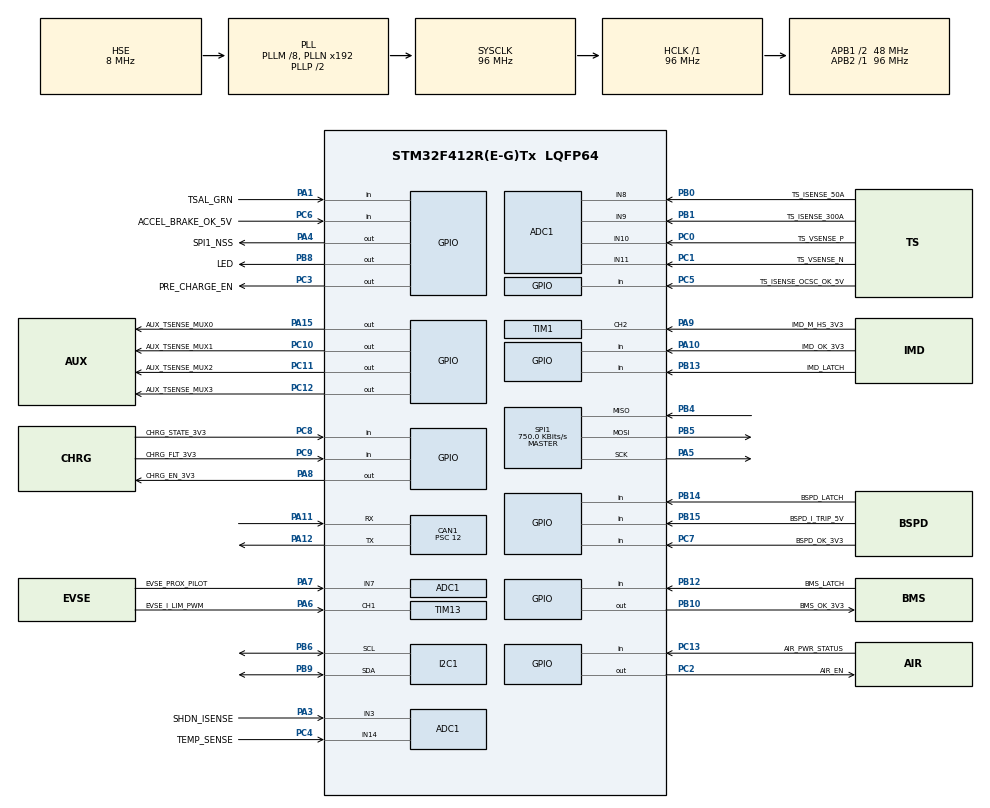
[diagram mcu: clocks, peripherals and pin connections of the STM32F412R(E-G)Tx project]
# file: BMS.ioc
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ADC1.Channel-1\#ChannelRegularConversion=ADC_CHANNEL_3
ADC1.Channel-2\#ChannelRegularConversion=ADC_CHANNEL_7
ADC1.Channel-3\#ChannelRegularConversion=ADC_CHANNEL_8
ADC1.Channel-4\#ChannelRegularConversion=ADC_CHANNEL_9
ADC1.Channel-5\#ChannelRegularConversion=ADC_CHANNEL_10
ADC1.Channel-6\#ChannelRegularConversion=ADC_CHANNEL_11
ADC1.Channel-7\#ChannelRegularConversion=ADC_CHANNEL_14
ADC1.DMAContinuousRequests=ENABLE
ADC1.ExternalTrigConv=ADC_SOFTWARE_START
ADC1.NbrOfConversion=7
ADC1.NbrOfConversionFlag=1
ADC1.Rank-1\#ChannelRegularConversion=1
ADC1.Rank-2\#ChannelRegularConversion=2
ADC1.Rank-3\#ChannelRegularConversion=3
ADC1.Rank-4\#ChannelRegularConversion=4
ADC1.Rank-5\#ChannelRegularConversion=5
ADC1.Rank-6\#ChannelRegularConversion=6
ADC1.Rank-7\#ChannelRegularConversion=7
ADC1.SamplingTime-1\#ChannelRegularConversion=ADC_SAMPLETIME_3CYCLES
ADC1.SamplingTime-2\#ChannelRegularConversion=ADC_SAMPLETIME_3CYCLES
ADC1.SamplingTime-3\#ChannelRegularConversion=ADC_SAMPLETIME_3CYCLES
ADC1.SamplingTime-4\#ChannelRegularConversion=ADC_SAMPLETIME_3CYCLES
ADC1.SamplingTime-5\#ChannelRegularConversion=ADC_SAMPLETIME_3CYCLES
ADC1.SamplingTime-6\#ChannelRegularConversion=ADC_SAMPLETIME_3CYCLES
ADC1.SamplingTime-7\#ChannelRegularConversion=ADC_SAMPLETIME_3CYCLES
ADC1.ScanConvMode=ENABLE
ADC1.master=1
CAN1.ABOM=ENABLE
CAN1.BS1=CAN_BS1_6TQ
CAN1.CalculateBaudRate=500000
CAN1.CalculateTimeBit=2000
CAN1.CalculateTimeQuantum=250.0
CAN1.NART=ENABLE
CAN1.Prescaler=12
CAN1.RFLM=ENABLE
CAN1.SJW=CAN_SJW_4TQ
CAN1.TXFP=ENABLE
Dma.ADC1.0.Direction=DMA_PERIPH_TO_MEMORY
Dma.ADC1.0.FIFOMode=DMA_FIFOMODE_DISABLE
Dma.ADC1.0.Instance=DMA2_Stream0
Dma.ADC1.0.MemDataAlignment=DMA_MDATAALIGN_HALFWORD
Dma.ADC1.0.MemInc=DMA_MINC_ENABLE
Dma.ADC1.0.Mode=DMA_CIRCULAR
Dma.ADC1.0.PeriphDataAlignment=DMA_PDATAALIGN_HALFWORD
Dma.ADC1.0.PeriphInc=DMA_PINC_DISABLE
Dma.ADC1.0.Priority=DMA_PRIORITY_LOW
Dma.Request0=ADC1
FREERTOS.INCLUDE_uxTaskGetStackHighWaterMark=1
FREERTOS.INCLUDE_vTaskDelayUntil=1
FREERTOS.MEMORY_ALLOCATION=1
FREERTOS.Tasks01=Task100Hz,40,512,RunTask100Hz,Default,NULL,Static,Task100HzBuffer,Task100HzControlBlock;TaskCanRx,24,512,RunTaskCanRx,Default,NULL,Static,TaskCanRxBuffer,TaskCanRxControlBlock;TaskCanTx,24,512,RunTaskCanTx,Default,NULL,Static,TaskCanTxBuffer,TaskCanTxControlBlock;Task1kHz,48,512,RunTask1kHz,Default,NULL,Static,Task1kHzBuffer,Task1kHzControlBlock;Task1Hz,32,512,RunTask1Hz,Default,NULL,Static,Task1HzBuffer,Task1HzControlBlock
FREERTOS.configUSE_NEWLIB_REENTRANT=1
FREERTOS.configUSE_TRACE_FACILITY=1
I2C1.I2C_Mode=I2C_Fast
IWDG.Reload=LSI_FREQUENCY /  IWDG_PRESCALER / IWDG_RESET_FREQUENCY
Mcu.Family=STM32F4
Mcu.Name=STM32F412R(E-G)Tx
Mcu.Package=LQFP64
Mcu.UserConstants=IWDG_WINDOW_DISABLE_VALUE,4095;IWDG_PRESCALER,4;IWDG_RESET_FREQUENCY,5;LSI_FREQUENCY,32000;TASK100HZ_STACK_SIZE,512;TASK1KHZ_STACK_SIZE,512;TASK1HZ_STACK_SIZE,512;TASKCANTX_STACK_SIZE,512;TASKCANRX_STACK_SIZE,512;TIM1_FREQUENCY,96000000;TIM1_AUTO_RELOAD_REG,0xFFFF;TIM1_PWM_MINIMUM_FREQUENCY,1;TIM1_PRESCALER,(TIM1_FREQUENCY / TIM1_AUTO_RELOAD_REG / TIM1_PWM_MINIMUM_FREQUENCY);TIMx_FREQUENCY,96000000;TIM3_PRESCALER,96;ADC_FREQUENCY,1000;TS_ADC_OFFSET,1983
NVIC.CAN1_RX0_IRQn=true\:5\:0\:false\:false\:true\:true\:true\:true\:true
NVIC.CAN1_RX1_IRQn=true\:5\:0\:false\:false\:true\:true\:true\:true\:true
NVIC.DMA2_Stream0_IRQn=true\:5\:0\:false\:false\:true\:true\:false\:true\:true
NVIC.PriorityGroup=NVIC_PRIORITYGROUP_4
NVIC.TIM1_CC_IRQn=true\:5\:0\:false\:false\:true\:true\:true\:true\:true
NVIC.TIM6_IRQn=true\:0\:0\:false\:false\:true\:false\:false\:true\:true
NVIC.TimeBase=TIM6_IRQn
NVIC.TimeBaseIP=TIM6
PA0.GPIO_Label=TSAL_RED
PA0.Signal=S_TIM2_CH1_ETR
PA1.GPIO_Label=TSAL_GRN
PA1.Signal=GPIO_Input
PA10.GPIO_Label=IMD_OK_3V3
PA10.Signal=GPIO_Input
PA11.Mode=CAN_Activate
PA11.Signal=CAN1_RX
PA12.Mode=CAN_Activate
PA12.Signal=CAN1_TX
PA13.Mode=Trace_Asynchronous_SW
PA13.Signal=SYS_JTMS-SWDIO
PA14.Mode=Trace_Asynchronous_SW
PA14.Signal=SYS_JTCK-SWCLK
PA15.GPIO_Label=AUX_TSENSE_MUX0
PA15.Signal=GPIO_Output
PA3.GPIO_Label=SHDN_ISENSE
PA3.Signal=ADCx_IN3
PA4.GPIO_Label=SPI1_NSS
PA4.GPIO_PuPd=GPIO_PULLDOWN
PA4.GPIO_Speed=GPIO_SPEED_FREQ_HIGH
PA4.PinState=GPIO_PIN_SET
PA4.Signal=GPIO_Output
PA5.GPIO_PuPd=GPIO_PULLDOWN
PA5.GPIO_Speed=GPIO_SPEED_FREQ_HIGH
PA5.Mode=Full_Duplex_Master
PA5.Signal=SPI1_SCK
PA6.GPIO_Label=EVSE_I_LIM_PWM
PA6.Signal=S_TIM13_CH1
PA7.GPIO_Label=EVSE_PROX_PILOT
PA7.Signal=ADCx_IN7
PA8.GPIO_Label=CHRG_EN_3V3
PA8.Signal=GPIO_Output
PA9.GPIO_Label=IMD_M_HS_3V3
PA9.Signal=S_TIM1_CH2
PB0.GPIO_Label=TS_ISENSE_50A
PB0.Signal=ADCx_IN8
PB1.GPIO_Label=TS_ISENSE_300A
PB1.Signal=ADCx_IN9
PB10.GPIO_Label=BMS_OK_3V3
PB10.Signal=GPIO_Output
PB12.GPIO_Label=BMS_LATCH
PB12.Signal=GPIO_Input
PB13.GPIO_Label=IMD_LATCH
PB13.Signal=GPIO_Input
PB14.GPIO_Label=BSPD_LATCH
PB14.Signal=GPIO_Input
PB15.GPIO_Label=BSPD_I_TRIP_5V
PB15.Signal=GPIO_Input
PB3.Mode=Trace_Asynchronous_SW
PB3.Signal=SYS_JTDO-SWO
PB4.GPIO_PuPd=GPIO_PULLUP
PB4.GPIO_Speed=GPIO_SPEED_FREQ_HIGH
PB4.Mode=Full_Duplex_Master
PB4.Signal=SPI1_MISO
PB5.GPIO_PuPd=GPIO_PULLDOWN
PB5.GPIO_Speed=GPIO_SPEED_FREQ_HIGH
PB5.Mode=Full_Duplex_Master
PB5.Signal=SPI1_MOSI
PB6.GPIO_Pu=GPIO_PULLUP
PB6.Mode=I2C
PB6.Signal=I2C1_SCL
PB8.GPIO_Label=LED
PB8.Signal=GPIO_Output
PB9.GPIO_Pu=GPIO_PULLUP
PB9.Mode=I2C
PB9.Signal=I2C1_SDA
PC0.GPIO_Label=TS_VSENSE_P
PC0.Signal=ADCx_IN10
PC1.GPIO_Label=TS_VSENSE_N
PC1.Signal=ADCx_IN11
PC10.GPIO_Label=AUX_TSENSE_MUX1
PC10.Signal=GPIO_Output
PC11.GPIO_Label=AUX_TSENSE_MUX2
PC11.Signal=GPIO_Output
PC12.GPIO_Label=AUX_TSENSE_MUX3
PC12.Signal=GPIO_Output
PC13.GPIO_Label=AIR_PWR_STATUS
PC13.Signal=GPIO_Input
PC2.GPIO_Label=AIR_EN
PC2.Signal=GPIO_Output
PC3.GPIO_Label=PRE_CHARGE_EN
PC3.Signal=GPIO_Output
PC4.GPIO_Label=TEMP_SENSE
PC4.Signal=ADCx_IN14
PC5.GPIO_Label=TS_ISENSE_OCSC_OK_5V
PC5.Signal=GPIO_Input
PC6.GPIO_Label=ACCEL_BRAKE_OK_5V
PC6.Signal=GPIO_Input
PC7.GPIO_Label=BSPD_OK_3V3
PC7.Signal=GPIO_Input
PC8.GPIO_Label=CHRG_STATE_3V3
PC8.Signal=GPIO_Input
PC9.GPIO_Label=CHRG_FLT_3V3
PC9.Signal=GPIO_Input
PH0\ -\ OSC_IN.Mode=HSE-External-Oscillator
PH0\ -\ OSC_IN.Signal=RCC_OSC_IN
PH1\ -\ OSC_OUT.Mode=HSE-External-Oscillator
PH1\ -\ OSC_OUT.Signal=RCC_OSC_OUT
ProjectManager.HeapSize=0x00
ProjectManager.StackSize=0x400
ProjectManager.TargetToolchain=STM32CubeIDE
RCC.AHBFreq_Value=96000000
RCC.APB1CLKDivider=RCC_HCLK_DIV2
RCC.APB1Freq_Value=48000000
RCC.APB1TimFreq_Value=96000000
RCC.APB2Freq_Value=96000000
RCC.APB2TimFreq_Value=96000000
RCC.CortexFreq_Value=96000000
RCC.HCLKFreq_Value=96000000
RCC.HSE_VALUE=8000000
RCC.PLLM=8
RCC.PLLSourceVirtual=RCC_PLLSOURCE_HSE
RCC.SYSCLKFreq_VALUE=96000000
RCC.SYSCLKSource=RCC_SYSCLKSOURCE_PLLCLK
RCC.USBFreq_Value=96000000
RCC.VCOOutputFreq_Value=192000000
SH.ADCx_IN10.0=ADC1_IN10,IN10
SH.ADCx_IN11.0=ADC1_IN11,IN11
SH.ADCx_IN14.0=ADC1_IN14,IN14
SH.ADCx_IN3.0=ADC1_IN3,IN3
SH.ADCx_IN7.0=ADC1_IN7,IN7
SH.ADCx_IN8.0=ADC1_IN8,IN8
SH.ADCx_IN9.0=ADC1_IN9,IN9
SH.S_TIM13_CH1.0=TIM13_CH1,Input_Capture1_from_TI1
SH.S_TIM1_CH2.0=TIM1_CH2,Input_Capture2_from_TI2
SH.S_TIM1_CH2.1=TIM1_CH2,Input_Capture1_from_TI2
SH.S_TIM1_CH2.2=TIM1_CH2,TriggerSource_TI2FP2
SH.S_TIM2_CH1_ETR.0=TIM2_CH1
SPI1.BaudRatePrescaler=SPI_BAUDRATEPRESCALER_128
SPI1.CLKPhase=SPI_PHASE_2EDGE
SPI1.CLKPolarity=SPI_POLARITY_HIGH
SPI1.CalculateBaudRate=750.0 KBits/s
SPI1.Direction=SPI_DIRECTION_2LINES
SPI1.Mode=SPI_MODE_MASTER
SPI1.VirtualType=VM_MASTER
TIM1.Channel-Input_Capture1_from_TI2=TIM_CHANNEL_1
TIM1.Channel-Input_Capture2_from_TI2=TIM_CHANNEL_2
TIM1.ICPolarity_CH1=TIM_INPUTCHANNELPOLARITY_FALLING
TIM1.ICPolarity_CH2=TIM_INPUTCHANNELPOLARITY_RISING
TIM1.Period=TIM1_AUTO_RELOAD_REG
TIM1.Prescaler=TIM1_PRESCALER
TIM13.Channel=TIM_CHANNEL_1
TIM13.ICPolarity_CH1=TIM_INPUTCHANNELPOLARITY_FALLING
TIM13.Period=TIM1_AUTO_RELOAD_REG
TIM13.Prescaler=TIM1_PRESCALER
TIM3.Period=(TIMx_FREQUENCY / TIM3_PRESCALER / ADC_FREQUENCY) - 1
TIM3.Prescaler=TIM3_PRESCALER - 1 
TIM3.TIM_MasterOutputTrigger=TIM_TRGO_UPDATE
VP_FREERTOS_VS_CMSIS_V2.Mode=CMSIS_V2
VP_IWDG_VS_IWDG.Mode=IWDG_Activate
VP_SYS_VS_tim6.Mode=TIM6
VP_TIM13_VS_ClockSourceINT.Mode=Enable_Timer
VP_TIM1_VS_ControllerModeReset.Mode=Reset Mode
VP_TIM3_VS_ClockSourceINT.Mode=Internal
board=custom

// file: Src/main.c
/* USER CODE BEGIN Header */
/**
 ******************************************************************************
 * @file           : main.c
 * @brief          : Main program body
 ******************************************************************************
 * @attention
 *
 * <h2><center>&copy; Copyright (c) 2020 STMicroelectronics.
 * All rights reserved.</center></h2>
 *
 * This software component is licensed by ST under Ultimate Liberty license
 * SLA0044, the "License"; You may not use this file except in compliance with
 * the License. You may obtain a copy of the License at:
 *                             www.st.com/SLA0044
 *
 ******************************************************************************
 */
/* USER CODE END Header */
#include "main.h"
#include "cmsis_os.h"

/* USER CODE BEGIN Includes */
#include <assert.h>

#include "Io_CanTx.h"
#include "Io_CanRx.h"
#include "Io_SharedSoftwareWatchdog.h"
#include "hw_hardFaultHandler.h"
#include "Io_StackWaterMark.h"
#include "Io_SoftwareWatchdog.h"
#include "Io_Imd.h"
#include "Io_SharedHeartbeatMonitor.h"
#include "Io_RgbLedSequence.h"
#include "Io_Charger.h"
#include "Io_CurrentSense.h"
#include "Io_OkStatuses.h"
#include "Io_LTC6813/Io_LTC6813Shared.h"
#include "Io_LTC6813/Io_LTC6813CellVoltages.h"
#include "Io_LTC6813/Io_LTC6813CellTemperatures.h"
#include "Io_Airs.h"
#include "Io_PreCharge.h"
#include "Io_Adc.h"
#include "Io_VoltageSense.h"
#include "Io_Eeprom.h"
#include "Io_LatchedFaults.h"
#include "Io_ThermistorReadings.h"
#include "io_can.h"
#include "io_jsoncan.h"
#include "hw_bootup.h"
#include "hw_can.h"

#include "App_CanUtils.h"
#include "App_CanAlerts.h"
#include "App_BmsWorld.h"
#include "states/App_AllStates.h"
#include "App_SharedMacros.h"
#include "App_SharedStateMachine.h"
#include "states/App_InitState.h"
#include "configs/App_HeartbeatMonitorConfig.h"
#include "configs/App_ImdConfig.h"
#include "App_CommitInfo.h"
#include "App_Timer.h"
/* USER CODE END Includes */

typedef StaticTask_t osStaticThreadDef_t;

/* USER CODE BEGIN PD */
#define I2C_RECOVER_NUM_CLOCKS 10U    /* # clock cycles for recovery  */
#define I2C_RECOVER_CLOCK_FREQ 50000U /* clock frequency for recovery */
#define I2C_RECOVER_CLOCK_DELAY_MS (1000U / (2U * I2C_RECOVER_CLOCK_FREQ))
#define I2C1_SCL_PIN GPIO_PIN_6
#define I2C1_SCL_PORT GPIOB

/* USER CODE END PD */

ADC_HandleTypeDef hadc1;
DMA_HandleTypeDef hdma_adc1;

CAN_HandleTypeDef hcan1;

I2C_HandleTypeDef hi2c1;

IWDG_HandleTypeDef hiwdg;

SPI_HandleTypeDef hspi1;

TIM_HandleTypeDef htim1;
TIM_HandleTypeDef htim3;
TIM_HandleTypeDef htim13;

/* Definitions for Task100Hz */
osThreadId_t         Task100HzHandle;
uint32_t             Task100HzBuffer[512];
osStaticThreadDef_t  Task100HzControlBlock;
const osThreadAttr_t Task100Hz_attributes = {
    .name       = "Task100Hz",
    .cb_mem     = &Task100HzControlBlock,
    .cb_size    = sizeof(Task100HzControlBlock),
    .stack_mem  = &Task100HzBuffer[0],
    .stack_size = sizeof(Task100HzBuffer),
    .priority   = (osPriority_t)osPriorityHigh,
};
/* Definitions for TaskCanRx */
osThreadId_t         TaskCanRxHandle;
uint32_t             TaskCanRxBuffer[512];
osStaticThreadDef_t  TaskCanRxControlBlock;
const osThreadAttr_t TaskCanRx_attributes = {
    .name       = "TaskCanRx",
    .cb_mem     = &TaskCanRxControlBlock,
    .cb_size    = sizeof(TaskCanRxControlBlock),
    .stack_mem  = &TaskCanRxBuffer[0],
    .stack_size = sizeof(TaskCanRxBuffer),
    .priority   = (osPriority_t)osPriorityNormal,
};
/* Definitions for TaskCanTx */
osThreadId_t         TaskCanTxHandle;
uint32_t             TaskCanTxBuffer[512];
osStaticThreadDef_t  TaskCanTxControlBlock;
const osThreadAttr_t TaskCanTx_attributes = {
    .name       = "TaskCanTx",
    .cb_mem     = &TaskCanTxControlBlock,
    .cb_size    = sizeof(TaskCanTxControlBlock),
    .stack_mem  = &TaskCanTxBuffer[0],
    .stack_size = sizeof(TaskCanTxBuffer),
    .priority   = (osPriority_t)osPriorityNormal,
};
/* Definitions for Task1kHz */
osThreadId_t         Task1kHzHandle;
uint32_t             Task1kHzBuffer[512];
osStaticThreadDef_t  Task1kHzControlBlock;
const osThreadAttr_t Task1kHz_attributes = {
    .name       = "Task1kHz",
    .cb_mem     = &Task1kHzControlBlock,
    .cb_size    = sizeof(Task1kHzControlBlock),
    .stack_mem  = &Task1kHzBuffer[0],
    .stack_size = sizeof(Task1kHzBuffer),
    .priority   = (osPriority_t)osPriorityRealtime,
};
/* Definitions for Task1Hz */
osThreadId_t         Task1HzHandle;
uint32_t             Task1HzBuffer[512];
osStaticThreadDef_t  Task1HzControlBlock;
const osThreadAttr_t Task1Hz_attributes = {
    .name       = "Task1Hz",
    .cb_mem     = &Task1HzControlBlock,
    .cb_size    = sizeof(Task1HzControlBlock),
    .stack_mem  = &Task1HzBuffer[0],
    .stack_size = sizeof(Task1HzBuffer),
    .priority   = (osPriority_t)osPriorityAboveNormal,
};
/* USER CODE BEGIN PV */
struct BmsWorld *        world;
struct StateMachine *    state_machine;
struct Imd *             imd;
struct HeartbeatMonitor *heartbeat_monitor;
struct RgbLedSequence *  rgb_led_sequence;
struct Charger *         charger;
struct OkStatus *        bms_ok;
struct OkStatus *        imd_ok;
struct OkStatus *        bspd_ok;
struct SocStats *        soc_stats;
struct Accumulator *     accumulator;
struct CellMonitors *    cell_monitors;
struct Airs *            airs;
struct PrechargeRelay *  precharge_relay;
struct TractiveSystem *  ts;
struct Clock *           clock;
struct Eeprom *          eeprom;
/* USER CODE END PV */

void        SystemClock_Config(void);
static void MX_GPIO_Init(void);
static void MX_DMA_Init(void);
static void MX_ADC1_Init(void);
static void MX_CAN1_Init(void);
static void MX_SPI1_Init(void);
static void MX_TIM1_Init(void);
static void MX_TIM13_Init(void);
static void MX_I2C1_Init(void);
static void MX_TIM3_Init(void);
static void MX_IWDG_Init(void);
void        RunTask100Hz(void *argument);
void        RunTaskCanRx(void *argument);
void        RunTaskCanTx(void *argument);
void        RunTask1kHz(void *argument);
void        RunTask1Hz(void *argument);

/* USER CODE BEGIN PFP */

static void CanRxQueueOverflowCallBack(uint32_t overflow_count);
static void CanTxQueueOverflowCallBack(uint32_t overflow_count);

/* USER CODE END PFP */

/* USER CODE BEGIN 0 */

static void CanRxQueueOverflowCallBack(uint32_t overflow_count)
{
    App_CanTx_BMS_RxOverflowCount_Set(overflow_count);
    App_CanAlerts_BMS_Warning_RxOverflow_Set(true);
}

static void CanTxQueueOverflowCallBack(uint32_t overflow_count)
{
    App_CanTx_BMS_TxOverflowCount_Set(overflow_count);
    App_CanAlerts_BMS_Warning_TxOverflow_Set(true);
}

static const CanConfig can_config = {
    .rx_msg_filter        = Io_CanRx_FilterMessageId,
    .tx_overflow_callback = CanTxQueueOverflowCallBack,
    .rx_overflow_callback = CanRxQueueOverflowCallBack,
};
/* USER CODE END 0 */

int main(void)
{
    /* USER CODE BEGIN 1 */
    // After booting, re-enable interrupts and ensure the core is using the application's vector table.
    hw_bootup_enableInterruptsForApp();
    /* USER CODE END 1 */

    /* MCU Configuration--------------------------------------------------------*/

    /* Reset of all peripherals, Initializes the Flash interface and the Systick. */
    HAL_Init();

    /* Configure the system clock */
    SystemClock_Config();

    /* Initialize all configured peripherals */
    MX_GPIO_Init();
    MX_DMA_Init();
    MX_ADC1_Init();
    MX_CAN1_Init();
    MX_SPI1_Init();
    MX_TIM1_Init();
    MX_TIM13_Init();
    MX_I2C1_Init();
    MX_TIM3_Init();
    MX_IWDG_Init();
    /* USER CODE BEGIN 2 */
    __HAL_DBGMCU_FREEZE_IWDG();

    // Configure and initialize SEGGER SystemView.
    SEGGER_SYSVIEW_Conf();

    HAL_ADC_Start_DMA(&hadc1, (uint32_t *)Io_Adc_GetRawAdcValues(), hadc1.Init.NbrOfConversion);
    HAL_TIM_Base_Start(&htim13);

    hw_hardFaultHandler_init();
    hw_can_init(&hcan1);

    Io_SharedSoftwareWatchdog_Init(Io_HardwareWatchdog_Refresh, Io_SoftwareWatchdog_TimeoutCallback);
    Io_CanTx_Init(io_jsoncan_pushTxMsgToQueue);
    Io_CanTx_EnableMode(CAN_MODE_DEFAULT, true);
    io_can_init(&can_config);

    App_CanTx_Init();
    App_CanRx_Init();

    Io_Imd_Init();
    imd = App_Imd_Create(Io_Imd_GetFrequency, IMD_FREQUENCY_TOLERANCE, Io_Imd_GetDutyCycle, Io_Imd_GetTimeSincePowerOn);

    heartbeat_monitor = App_SharedHeartbeatMonitor_Create(
        Io_SharedHeartbeatMonitor_GetCurrentMs, HEARTBEAT_MONITOR_TIMEOUT_PERIOD_MS, HEARTBEAT_MONITOR_BOARDS_TO_CHECK);

    rgb_led_sequence = App_SharedRgbLedSequence_Create(
        Io_RgbLedSequence_TurnOnRedLed, Io_RgbLedSequence_TurnOnBlueLed, Io_RgbLedSequence_TurnOnGreenLed);

    charger = App_Charger_Create(Io_Charger_Enable, Io_Charger_Disable, Io_Charger_IsConnected, Io_Charger_HasFaulted);

    bms_ok = App_OkStatus_Create(Io_OkStatuses_EnableBmsOk, Io_OkStatuses_DisableBmsOk, Io_OkStatuses_IsBmsOkEnabled);

    imd_ok = App_OkStatus_Create(Io_OkStatuses_EnableImdOk, Io_OkStatuses_DisableImdOk, Io_OkStatuses_IsImdOkEnabled);

    bspd_ok =
        App_OkStatus_Create(Io_OkStatuses_EnableBspdOk, Io_OkStatuses_DisableBspdOk, Io_OkStatuses_IsBspdOkEnabled);

    Io_LTC6813Shared_InitSpiHandle(&hspi1);
    accumulator = App_Accumulator_Create(
        Io_LTC6813Shared_SetCfgRegsToDefaultSettings, Io_LTC6813Shared_WriteConfigurationRegisters,
        Io_LTC6813CellVoltages_StartAdcConversion, Io_LTC6813CellVoltages_ReadVoltages,
        Io_LTC6813CellVoltages_GetCellVoltage, Io_LTC6813CellTemperatures_StartAdcConversion,
        Io_LTC6813CellTemperatures_ReadTemperatures, Io_LTC6813CellTemperatures_GetMinTempDegC,
        Io_LTC6813CellTemperatures_GetMaxTempDegC, Io_LTC6813CellTemperatures_GetAverageTempDegC,
        Io_LTC6813CellTemperatures_GetSpecifiedTempDegC, Io_LTC6813Shared_EnableBalance,
        Io_LTC6813Shared_DisableBalance, Io_LatchedFaults_CheckImdLatchedFault, Io_LatchedFaults_CheckBspdLatchedFault,
        Io_LatchedFaults_CheckBmsLatchedFault, Io_ThermistorReadings_MuxSelect, Io_ThermistorReadings_ReadSelectedTemp);

    ts = App_TractiveSystem_Create(
        Io_VoltageSense_GetTractiveSystemVoltage, Io_CurrentSense_GetHighResolutionMainCurrent,
        Io_CurrentSense_GetLowResolutionMainCurrent);

    airs = App_Airs_Create(
        Io_Airs_IsAirPositiveClosed, Io_Airs_IsAirNegativeClosed, Io_Airs_CloseAirPositive, Io_Airs_OpenAirPositive);

    eeprom = App_Eeprom_Create(Io_Eeprom_WritePage, Io_Eeprom_ReadPage, Io_Eeprom_PageErase);

    soc_stats = App_SocStats_Create(eeprom, accumulator);

    precharge_relay = App_PrechargeRelay_Create(Io_PreCharge_Enable, Io_PreCharge_Disable);

    clock = App_SharedClock_Create();

    world = App_BmsWorld_Create(
        imd, heartbeat_monitor, rgb_led_sequence, charger, bms_ok, imd_ok, bspd_ok, accumulator, soc_stats, airs,
        precharge_relay, ts, clock, eeprom);

    state_machine = App_SharedStateMachine_Create(world, App_GetInitState());
    App_AllStates_Init();

    // broadcast commit info
    App_CanTx_BMS_Hash_Set(GIT_COMMIT_HASH);
    App_CanTx_BMS_Clean_Set(GIT_COMMIT_CLEAN);

    /* USER CODE END 2 */

    /* Init scheduler */
    osKernelInitialize();

    /* Create the thread(s) */
    /* creation of Task100Hz */
    Task100HzHandle = osThreadNew(RunTask100Hz, NULL, &Task100Hz_attributes);

    /* creation of TaskCanRx */
    TaskCanRxHandle = osThreadNew(RunTaskCanRx, NULL, &TaskCanRx_attributes);

    /* creation of TaskCanTx */
    TaskCanTxHandle = osThreadNew(RunTaskCanTx, NULL, &TaskCanTx_attributes);

    /* creation of Task1kHz */
    Task1kHzHandle = osThreadNew(RunTask1kHz, NULL, &Task1kHz_attributes);

    /* creation of Task1Hz */
    Task1HzHandle = osThreadNew(RunTask1Hz, NULL, &Task1Hz_attributes);

    /* Start scheduler */
    osKernelStart();

    /* We should never get here as control is now taken by the scheduler */
    /* Infinite loop */
    while (1)
    {

    }
}

void SystemClock_Config(void)
{
    RCC_OscInitTypeDef RCC_OscInitStruct = { 0 };
    RCC_ClkInitTypeDef RCC_ClkInitStruct = { 0 };

    /** Configure the main internal regulator output voltage
     */
    __HAL_RCC_PWR_CLK_ENABLE();
    __HAL_PWR_VOLTAGESCALING_CONFIG(PWR_REGULATOR_VOLTAGE_SCALE1);

    /** Initializes the RCC Oscillators according to the specified parameters
     * in the RCC_OscInitTypeDef structure.
     */
    RCC_OscInitStruct.OscillatorType = RCC_OSCILLATORTYPE_LSI | RCC_OSCILLATORTYPE_HSE;
    RCC_OscInitStruct.HSEState       = RCC_HSE_ON;
    RCC_OscInitStruct.LSIState       = RCC_LSI_ON;
    RCC_OscInitStruct.PLL.PLLState   = RCC_PLL_ON;
    RCC_OscInitStruct.PLL.PLLSource  = RCC_PLLSOURCE_HSE;
    RCC_OscInitStruct.PLL.PLLM       = 8;
    RCC_OscInitStruct.PLL.PLLN       = 192;
    RCC_OscInitStruct.PLL.PLLP       = RCC_PLLP_DIV2;
    RCC_OscInitStruct.PLL.PLLQ       = 2;
    RCC_OscInitStruct.PLL.PLLR       = 2;
    if (HAL_RCC_OscConfig(&RCC_OscInitStruct) != HAL_OK)
    {
        Error_Handler();
    }

    /** Initializes the CPU, AHB and APB buses clocks
     */
    RCC_ClkInitStruct.ClockType = RCC_CLOCKTYPE_HCLK | RCC_CLOCKTYPE_SYSCLK | RCC_CLOCKTYPE_PCLK1 | RCC_CLOCKTYPE_PCLK2;
    RCC_ClkInitStruct.SYSCLKSource   = RCC_SYSCLKSOURCE_PLLCLK;
    RCC_ClkInitStruct.AHBCLKDivider  = RCC_SYSCLK_DIV1;
    RCC_ClkInitStruct.APB1CLKDivider = RCC_HCLK_DIV2;
    RCC_ClkInitStruct.APB2CLKDivider = RCC_HCLK_DIV1;

    if (HAL_RCC_ClockConfig(&RCC_ClkInitStruct, FLASH_LATENCY_3) != HAL_OK)
    {
        Error_Handler();
    }
}

static void MX_ADC1_Init(void)
{

    ADC_ChannelConfTypeDef sConfig = { 0 };

    /** Configure the global features of the ADC (Clock, Resolution, Data Alignment and number of conversion)
     */
    hadc1.Instance                   = ADC1;
    hadc1.Init.ClockPrescaler        = ADC_CLOCK_SYNC_PCLK_DIV4;
    hadc1.Init.Resolution            = ADC_RESOLUTION_12B;
    hadc1.Init.ScanConvMode          = ENABLE;
    hadc1.Init.ContinuousConvMode    = DISABLE;
    hadc1.Init.DiscontinuousConvMode = DISABLE;
    hadc1.Init.ExternalTrigConvEdge  = ADC_EXTERNALTRIGCONVEDGE_NONE;
    hadc1.Init.ExternalTrigConv      = ADC_SOFTWARE_START;
    hadc1.Init.DataAlign             = ADC_DATAALIGN_RIGHT;
    hadc1.Init.NbrOfConversion       = 7;
    hadc1.Init.DMAContinuousRequests = ENABLE;
    hadc1.Init.EOCSelection          = ADC_EOC_SINGLE_CONV;
    if (HAL_ADC_Init(&hadc1) != HAL_OK)
    {
        Error_Handler();
    }

    /** Configure for the selected ADC regular channel its corresponding rank in the sequencer and its sample time.
     */
    sConfig.Channel      = ADC_CHANNEL_3;
    sConfig.Rank         = 1;
    sConfig.SamplingTime = ADC_SAMPLETIME_3CYCLES;
    if (HAL_ADC_ConfigChannel(&hadc1, &sConfig) != HAL_OK)
    {
        Error_Handler();
    }

    /** Configure for the selected ADC regular channel its corresponding rank in the sequencer and its sample time.
     */
    sConfig.Channel = ADC_CHANNEL_7;
    sConfig.Rank    = 2;
    if (HAL_ADC_ConfigChannel(&hadc1, &sConfig) != HAL_OK)
    {
        Error_Handler();
    }

    /** Configure for the selected ADC regular channel its corresponding rank in the sequencer and its sample time.
     */
    sConfig.Channel = ADC_CHANNEL_8;
    sConfig.Rank    = 3;
    if (HAL_ADC_ConfigChannel(&hadc1, &sConfig) != HAL_OK)
    {
        Error_Handler();
    }

    /** Configure for the selected ADC regular channel its corresponding rank in the sequencer and its sample time.
     */
    sConfig.Channel = ADC_CHANNEL_9;
    sConfig.Rank    = 4;
    if (HAL_ADC_ConfigChannel(&hadc1, &sConfig) != HAL_OK)
    {
        Error_Handler();
    }

    /** Configure for the selected ADC regular channel its corresponding rank in the sequencer and its sample time.
     */
    sConfig.Channel = ADC_CHANNEL_10;
    sConfig.Rank    = 5;
    if (HAL_ADC_ConfigChannel(&hadc1, &sConfig) != HAL_OK)
    {
        Error_Handler();
    }

    /** Configure for the selected ADC regular channel its corresponding rank in the sequencer and its sample time.
     */
    sConfig.Channel = ADC_CHANNEL_11;
    sConfig.Rank    = 6;
    if (HAL_ADC_ConfigChannel(&hadc1, &sConfig) != HAL_OK)
    {
        Error_Handler();
    }

    /** Configure for the selected ADC regular channel its corresponding rank in the sequencer and its sample time.
     */
    sConfig.Channel = ADC_CHANNEL_14;
    sConfig.Rank    = 7;
    if (HAL_ADC_ConfigChannel(&hadc1, &sConfig) != HAL_OK)
    {
        Error_Handler();
    }
}

static void MX_CAN1_Init(void)
{

    hcan1.Instance                  = CAN1;
    hcan1.Init.Prescaler            = 12;
    hcan1.Init.Mode                 = CAN_MODE_NORMAL;
    hcan1.Init.SyncJumpWidth        = CAN_SJW_4TQ;
    hcan1.Init.TimeSeg1             = CAN_BS1_6TQ;
    hcan1.Init.TimeSeg2             = CAN_BS2_1TQ;
    hcan1.Init.TimeTriggeredMode    = DISABLE;
    hcan1.Init.AutoBusOff           = ENABLE;
    hcan1.Init.AutoWakeUp           = DISABLE;
    hcan1.Init.AutoRetransmission   = ENABLE;
    hcan1.Init.ReceiveFifoLocked    = ENABLE;
    hcan1.Init.TransmitFifoPriority = ENABLE;
    if (HAL_CAN_Init(&hcan1) != HAL_OK)
    {
        Error_Handler();
    }
}

static void MX_I2C1_Init(void)
{

    /* USER CODE BEGIN I2C1_Init 1 */

    // Manually pulse the I2C clock signal 10 times, this can recover the I2C bus from a locked state after a reflash or
    // reset

    // To manually pulse must first set I2C pins to GPIO General Purpose Output Open-Drain
    GPIO_InitTypeDef GPIO_InitStruct;

    GPIO_InitStruct.Mode      = GPIO_MODE_OUTPUT_OD;
    GPIO_InitStruct.Alternate = GPIO_AF4_I2C1;
    GPIO_InitStruct.Pull      = GPIO_PULLUP;
    GPIO_InitStruct.Speed     = GPIO_SPEED_FREQ_HIGH;

    GPIO_InitStruct.Pin = I2C1_SCL_PIN;
    HAL_GPIO_Init(I2C1_SCL_PORT, &GPIO_InitStruct);

    for (uint8_t i = 0U; i < I2C_RECOVER_NUM_CLOCKS; ++i)
    {
        HAL_Delay(I2C_RECOVER_CLOCK_DELAY_MS);

        HAL_GPIO_WritePin(I2C1_SCL_PORT, I2C1_SCL_PIN, GPIO_PIN_RESET);

        HAL_Delay(I2C_RECOVER_CLOCK_DELAY_MS);

        HAL_GPIO_WritePin(I2C1_SCL_PORT, I2C1_SCL_PIN, GPIO_PIN_RESET);
    }

    // Set pins back to GPIO Alternate Function

    GPIO_InitStruct.Mode      = GPIO_MODE_AF_OD;
    GPIO_InitStruct.Pull      = GPIO_PULLUP;
    GPIO_InitStruct.Speed     = GPIO_SPEED_FREQ_LOW;
    GPIO_InitStruct.Alternate = GPIO_AF4_I2C1;

    GPIO_InitStruct.Pin = I2C1_SCL_PIN;
    HAL_GPIO_Init(I2C1_SCL_PORT, &GPIO_InitStruct);

    /* USER CODE END I2C1_Init 1 */
    hi2c1.Instance             = I2C1;
    hi2c1.Init.ClockSpeed      = 400000;
    hi2c1.Init.DutyCycle       = I2C_DUTYCYCLE_2;
    hi2c1.Init.OwnAddress1     = 0;
    hi2c1.Init.AddressingMode  = I2C_ADDRESSINGMODE_7BIT;
    hi2c1.Init.DualAddressMode = I2C_DUALADDRESS_DISABLE;
    hi2c1.Init.OwnAddress2     = 0;
    hi2c1.Init.GeneralCallMode = I2C_GENERALCALL_DISABLE;
    hi2c1.Init.NoStretchMode   = I2C_NOSTRETCH_DISABLE;
    if (HAL_I2C_Init(&hi2c1) != HAL_OK)
    {
        Error_Handler();
    }
}

static void MX_IWDG_Init(void)
{

    hiwdg.Instance       = IWDG;
    hiwdg.Init.Prescaler = IWDG_PRESCALER_4;
    hiwdg.Init.Reload    = LSI_FREQUENCY / IWDG_PRESCALER / IWDG_RESET_FREQUENCY;
    if (HAL_IWDG_Init(&hiwdg) != HAL_OK)
    {
        Error_Handler();
    }
}

static void MX_SPI1_Init(void)
{

    /* SPI1 parameter configuration*/
    hspi1.Instance               = SPI1;
    hspi1.Init.Mode              = SPI_MODE_MASTER;
    hspi1.Init.Direction         = SPI_DIRECTION_2LINES;
    hspi1.Init.DataSize          = SPI_DATASIZE_8BIT;
    hspi1.Init.CLKPolarity       = SPI_POLARITY_HIGH;
    hspi1.Init.CLKPhase          = SPI_PHASE_2EDGE;
    hspi1.Init.NSS               = SPI_NSS_SOFT;
    hspi1.Init.BaudRatePrescaler = SPI_BAUDRATEPRESCALER_128;
    hspi1.Init.FirstBit          = SPI_FIRSTBIT_MSB;
    hspi1.Init.TIMode            = SPI_TIMODE_DISABLE;
    hspi1.Init.CRCCalculation    = SPI_CRCCALCULATION_DISABLE;
    hspi1.Init.CRCPolynomial     = 10;
    if (HAL_SPI_Init(&hspi1) != HAL_OK)
    {
        Error_Handler();
    }
}

static void MX_TIM1_Init(void)
{

    TIM_SlaveConfigTypeDef  sSlaveConfig  = { 0 };
    TIM_MasterConfigTypeDef sMasterConfig = { 0 };
    TIM_IC_InitTypeDef      sConfigIC     = { 0 };

    htim1.Instance               = TIM1;
    htim1.Init.Prescaler         = TIM1_PRESCALER;
    htim1.Init.CounterMode       = TIM_COUNTERMODE_UP;
    htim1.Init.Period            = TIM1_AUTO_RELOAD_REG;
    htim1.Init.ClockDivision     = TIM_CLOCKDIVISION_DIV1;
    htim1.Init.RepetitionCounter = 0;
    htim1.Init.AutoReloadPreload = TIM_AUTORELOAD_PRELOAD_DISABLE;
    if (HAL_TIM_Base_Init(&htim1) != HAL_OK)
    {
        Error_Handler();
    }
    if (HAL_TIM_IC_Init(&htim1) != HAL_OK)
    {
        Error_Handler();
    }
    sSlaveConfig.SlaveMode       = TIM_SLAVEMODE_RESET;
    sSlaveConfig.InputTrigger    = TIM_TS_TI2FP2;
    sSlaveConfig.TriggerPolarity = TIM_INPUTCHANNELPOLARITY_RISING;
    sSlaveConfig.TriggerFilter   = 0;
    if (HAL_TIM_SlaveConfigSynchro(&htim1, &sSlaveConfig) != HAL_OK)
    {
        Error_Handler();
    }
    sMasterConfig.MasterOutputTrigger = TIM_TRGO_RESET;
    sMasterConfig.MasterSlaveMode     = TIM_MASTERSLAVEMODE_DISABLE;
    if (HAL_TIMEx_MasterConfigSynchronization(&htim1, &sMasterConfig) != HAL_OK)
    {
        Error_Handler();
    }
    sConfigIC.ICPolarity  = TIM_INPUTCHANNELPOLARITY_FALLING;
    sConfigIC.ICSelection = TIM_ICSELECTION_INDIRECTTI;
    sConfigIC.ICPrescaler = TIM_ICPSC_DIV1;
    sConfigIC.ICFilter    = 0;
    if (HAL_TIM_IC_ConfigChannel(&htim1, &sConfigIC, TIM_CHANNEL_1) != HAL_OK)
    {
        Error_Handler();
    }
    sConfigIC.ICPolarity  = TIM_INPUTCHANNELPOLARITY_RISING;
    sConfigIC.ICSelection = TIM_ICSELECTION_DIRECTTI;
    if (HAL_TIM_IC_ConfigChannel(&htim1, &sConfigIC, TIM_CHANNEL_2) != HAL_OK)
    {
        Error_Handler();
    }
}

static void MX_TIM3_Init(void)
{

    TIM_ClockConfigTypeDef  sClockSourceConfig = { 0 };
    TIM_MasterConfigTypeDef sMasterConfig      = { 0 };

    htim3.Instance               = TIM3;
    htim3.Init.Prescaler         = TIM3_PRESCALER - 1;
    htim3.Init.CounterMode       = TIM_COUNTERMODE_UP;
    htim3.Init.Period            = (TIMx_FREQUENCY / TIM3_PRESCALER / ADC_FREQUENCY) - 1;
    htim3.Init.ClockDivision     = TIM_CLOCKDIVISION_DIV1;
    htim3.Init.AutoReloadPreload = TIM_AUTORELOAD_PRELOAD_DISABLE;
    if (HAL_TIM_Base_Init(&htim3) != HAL_OK)
    {
        Error_Handler();
    }
    sClockSourceConfig.ClockSource = TIM_CLOCKSOURCE_INTERNAL;
    if (HAL_TIM_ConfigClockSource(&htim3, &sClockSourceConfig) != HAL_OK)
    {
        Error_Handler();
    }
    sMasterConfig.MasterOutputTrigger = TIM_TRGO_UPDATE;
    sMasterConfig.MasterSlaveMode     = TIM_MASTERSLAVEMODE_DISABLE;
    if (HAL_TIMEx_MasterConfigSynchronization(&htim3, &sMasterConfig) != HAL_OK)
    {
        Error_Handler();
    }
}

static void MX_TIM13_Init(void)
{

    TIM_IC_InitTypeDef sConfigIC = { 0 };

    htim13.Instance               = TIM13;
    htim13.Init.Prescaler         = TIM1_PRESCALER;
    htim13.Init.CounterMode       = TIM_COUNTERMODE_UP;
    htim13.Init.Period            = TIM1_AUTO_RELOAD_REG;
    htim13.Init.ClockDivision     = TIM_CLOCKDIVISION_DIV1;
    htim13.Init.AutoReloadPreload = TIM_AUTORELOAD_PRELOAD_DISABLE;
    if (HAL_TIM_Base_Init(&htim13) != HAL_OK)
    {
        Error_Handler();
    }
    if (HAL_TIM_IC_Init(&htim13) != HAL_OK)
    {
        Error_Handler();
    }
    sConfigIC.ICPolarity  = TIM_INPUTCHANNELPOLARITY_FALLING;
    sConfigIC.ICSelection = TIM_ICSELECTION_DIRECTTI;
    sConfigIC.ICPrescaler = TIM_ICPSC_DIV1;
    sConfigIC.ICFilter    = 0;
    if (HAL_TIM_IC_ConfigChannel(&htim13, &sConfigIC, TIM_CHANNEL_1) != HAL_OK)
    {
        Error_Handler();
    }
}

static void MX_DMA_Init(void)
{
    /* DMA controller clock enable */
    __HAL_RCC_DMA2_CLK_ENABLE();

    /* DMA interrupt init */
    /* DMA2_Stream0_IRQn interrupt configuration */
    HAL_NVIC_SetPriority(DMA2_Stream0_IRQn, 5, 0);
    HAL_NVIC_EnableIRQ(DMA2_Stream0_IRQn);
}

static void MX_GPIO_Init(void)
{
    GPIO_InitTypeDef GPIO_InitStruct = { 0 };

    /* GPIO Ports Clock Enable */
    __HAL_RCC_GPIOC_CLK_ENABLE();
    __HAL_RCC_GPIOH_CLK_ENABLE();
    __HAL_RCC_GPIOA_CLK_ENABLE();
    __HAL_RCC_GPIOB_CLK_ENABLE();

    /*Configure GPIO pin Output Level */
    HAL_GPIO_WritePin(
        GPIOC, AIR_EN_Pin | PRE_CHARGE_EN_Pin | AUX_TSENSE_MUX1_Pin | AUX_TSENSE_MUX2_Pin | AUX_TSENSE_MUX3_Pin,
        GPIO_PIN_RESET);

    /*Configure GPIO pin Output Level */
    HAL_GPIO_WritePin(SPI1_NSS_GPIO_Port, SPI1_NSS_Pin, GPIO_PIN_SET);

    /*Configure GPIO pin Output Level */
    HAL_GPIO_WritePin(GPIOB, BMS_OK_3V3_Pin | LED_Pin, GPIO_PIN_RESET);

    /*Configure GPIO pin Output Level */
    HAL_GPIO_WritePin(GPIOA, CHRG_EN_3V3_Pin | AUX_TSENSE_MUX0_Pin, GPIO_PIN_RESET);

    /*Configure GPIO pins : AIR_PWR_STATUS_Pin TS_ISENSE_OCSC_OK_5V_Pin ACCEL_BRAKE_OK_5V_Pin BSPD_OK_3V3_Pin
                             CHRG_STATE_3V3_Pin CHRG_FLT_3V3_Pin */
    GPIO_InitStruct.Pin = AIR_PWR_STATUS_Pin | TS_ISENSE_OCSC_OK_5V_Pin | ACCEL_BRAKE_OK_5V_Pin | BSPD_OK_3V3_Pin |
                          CHRG_STATE_3V3_Pin | CHRG_FLT_3V3_Pin;
    GPIO_InitStruct.Mode = GPIO_MODE_INPUT;
    GPIO_InitStruct.Pull = GPIO_NOPULL;
    HAL_GPIO_Init(GPIOC, &GPIO_InitStruct);

    /*Configure GPIO pins : AIR_EN_Pin PRE_CHARGE_EN_Pin AUX_TSENSE_MUX1_Pin AUX_TSENSE_MUX2_Pin
                             AUX_TSENSE_MUX3_Pin */
    GPIO_InitStruct.Pin =
        AIR_EN_Pin | PRE_CHARGE_EN_Pin | AUX_TSENSE_MUX1_Pin | AUX_TSENSE_MUX2_Pin | AUX_TSENSE_MUX3_Pin;
    GPIO_InitStruct.Mode  = GPIO_MODE_OUTPUT_PP;
    GPIO_InitStruct.Pull  = GPIO_NOPULL;
    GPIO_InitStruct.Speed = GPIO_SPEED_FREQ_LOW;
    HAL_GPIO_Init(GPIOC, &GPIO_InitStruct);

    /*Configure GPIO pin : TSAL_RED_Pin */
    GPIO_InitStruct.Pin       = TSAL_RED_Pin;
    GPIO_InitStruct.Mode      = GPIO_MODE_AF_PP;
    GPIO_InitStruct.Pull      = GPIO_NOPULL;
    GPIO_InitStruct.Speed     = GPIO_SPEED_FREQ_LOW;
    GPIO_InitStruct.Alternate = GPIO_AF1_TIM2;
    HAL_GPIO_Init(TSAL_RED_GPIO_Port, &GPIO_InitStruct);

    /*Configure GPIO pins : TSAL_GRN_Pin IMD_OK_3V3_Pin */
    GPIO_InitStruct.Pin  = TSAL_GRN_Pin | IMD_OK_3V3_Pin;
    GPIO_InitStruct.Mode = GPIO_MODE_INPUT;
    GPIO_InitStruct.Pull = GPIO_NOPULL;
    HAL_GPIO_Init(GPIOA, &GPIO_InitStruct);

    /*Configure GPIO pin : SPI1_NSS_Pin */
    GPIO_InitStruct.Pin   = SPI1_NSS_Pin;
    GPIO_InitStruct.Mode  = GPIO_MODE_OUTPUT_PP;
    GPIO_InitStruct.Pull  = GPIO_PULLDOWN;
    GPIO_InitStruct.Speed = GPIO_SPEED_FREQ_HIGH;
    HAL_GPIO_Init(SPI1_NSS_GPIO_Port, &GPIO_InitStruct);

    /*Configure GPIO pins : BMS_OK_3V3_Pin LED_Pin */
    GPIO_InitStruct.Pin   = BMS_OK_3V3_Pin | LED_Pin;
    GPIO_InitStruct.Mode  = GPIO_MODE_OUTPUT_PP;
    GPIO_InitStruct.Pull  = GPIO_NOPULL;
    GPIO_InitStruct.Speed = GPIO_SPEED_FREQ_LOW;
    HAL_GPIO_Init(GPIOB, &GPIO_InitStruct);

    /*Configure GPIO pins : BMS_LATCH_Pin IMD_LATCH_Pin BSPD_LATCH_Pin BSPD_I_TRIP_5V_Pin */
    GPIO_InitStruct.Pin  = BMS_LATCH_Pin | IMD_LATCH_Pin | BSPD_LATCH_Pin | BSPD_I_TRIP_5V_Pin;
    GPIO_InitStruct.Mode = GPIO_MODE_INPUT;
    GPIO_InitStruct.Pull = GPIO_NOPULL;
    HAL_GPIO_Init(GPIOB, &GPIO_InitStruct);

    /*Configure GPIO pins : CHRG_EN_3V3_Pin AUX_TSENSE_MUX0_Pin */
    GPIO_InitStruct.Pin   = CHRG_EN_3V3_Pin | AUX_TSENSE_MUX0_Pin;
    GPIO_InitStruct.Mode  = GPIO_MODE_OUTPUT_PP;
    GPIO_InitStruct.Pull  = GPIO_NOPULL;
    GPIO_InitStruct.Speed = GPIO_SPEED_FREQ_LOW;
    HAL_GPIO_Init(GPIOA, &GPIO_InitStruct);

}

void RunTask100Hz(void *argument)
{
    /* USER CODE BEGIN 5 */
    UNUSED(argument);
    static const TickType_t  period_ms = 10;
    SoftwareWatchdogHandle_t watchdog  = Io_SharedSoftwareWatchdog_AllocateWatchdog();
    Io_SharedSoftwareWatchdog_InitWatchdog(watchdog, RTOS_TASK_100HZ, period_ms);

    static uint32_t start_ticks = 0;
    start_ticks                 = osKernelGetTickCount();

    /* Infinite loop */
    for (;;)
    {
        App_SharedStateMachine_Tick100Hz(state_machine);
        Io_CanTx_Enqueue100HzMsgs();

        // Watchdog check-in must be the last function called before putting the
        // task to sleep.
        Io_SharedSoftwareWatchdog_CheckInWatchdog(watchdog);

        start_ticks += period_ms;
        osDelayUntil(start_ticks);
    }
    /* USER CODE END 5 */
}

void RunTaskCanRx(void *argument)
{
    /* USER CODE BEGIN RunTaskCanRx */
    UNUSED(argument);

    /* Infinite loop */
    for (;;)
    {
        CanMsg rx_msg;
        io_can_popRxMsgFromQueue(&rx_msg);

        JsonCanMsg jsoncan_rx_msg;
        io_jsoncan_copyFromCanMsg(&rx_msg, &jsoncan_rx_msg);
        Io_CanRx_UpdateRxTableWithMessage(&jsoncan_rx_msg);
    }
    /* USER CODE END RunTaskCanRx */
}

void RunTaskCanTx(void *argument)
{
    /* USER CODE BEGIN RunTaskCanTx */
    UNUSED(argument);

    /* Infinite loop */
    for (;;)
    {
        io_can_transmitMsgFromQueue();
    }
    /* USER CODE END RunTaskCanTx */
}

void RunTask1kHz(void *argument)
{
    /* USER CODE BEGIN RunTask1kHz */
    UNUSED(argument);
    static const TickType_t  period_ms = 1;
    SoftwareWatchdogHandle_t watchdog  = Io_SharedSoftwareWatchdog_AllocateWatchdog();
    Io_SharedSoftwareWatchdog_InitWatchdog(watchdog, RTOS_TASK_1KHZ, period_ms);

    static uint32_t start_ticks = 0;
    start_ticks                 = osKernelGetTickCount();

    /* Infinite loop */
    for (;;)
    {
        // ADC wasn't reading any voltages when triggered by TIM3 like on other boards
        // But worked fine when starting the conversion via software as below
        // TODO: Figure out why
        HAL_ADC_Start_DMA(&hadc1, (uint32_t *)Io_Adc_GetRawAdcValues(), hadc1.Init.NbrOfConversion);

        // Check in for timeouts for all RTOS tasks
        Io_SharedSoftwareWatchdog_CheckForTimeouts();
        const uint32_t task_start_ms = TICK_TO_MS(osKernelGetTickCount());

        App_Timer_SetCurrentTimeMS(task_start_ms);
        App_SharedClock_SetCurrentTimeInMilliseconds(clock, task_start_ms);
        App_Timer_SetCurrentTimeMS(task_start_ms);
        Io_CanTx_EnqueueOtherPeriodicMsgs(task_start_ms);

        // Watchdog check-in must be the last function called before putting the
        // task to sleep. Prevent check in if the elapsed period is greater or
        // equal to the period ms
        if ((TICK_TO_MS(osKernelGetTickCount()) - task_start_ms) <= period_ms)
        {
            Io_SharedSoftwareWatchdog_CheckInWatchdog(watchdog);
        }

        start_ticks += period_ms;
        osDelayUntil(start_ticks);
    }
    /* USER CODE END RunTask1kHz */
}

void RunTask1Hz(void *argument)
{
    /* USER CODE BEGIN RunTask1Hz */
    UNUSED(argument);
    static const TickType_t  period_ms = 1000U;
    SoftwareWatchdogHandle_t watchdog  = Io_SharedSoftwareWatchdog_AllocateWatchdog();
    Io_SharedSoftwareWatchdog_InitWatchdog(watchdog, RTOS_TASK_1HZ, period_ms);

    static uint32_t start_ticks = 0;
    start_ticks                 = osKernelGetTickCount();

    /* Infinite loop */
    for (;;)
    {
        Io_StackWaterMark_Check();
        App_SharedStateMachine_Tick1Hz(state_machine);

        const bool debug_mode_enabled = App_CanRx_Debug_EnableDebugMode_Get();
        Io_CanTx_EnableMode(CAN_MODE_DEBUG, debug_mode_enabled);
        Io_CanTx_Enqueue1HzMsgs();

        // Watchdog check-in must be the last function called before putting the
        // task to sleep.
        Io_SharedSoftwareWatchdog_CheckInWatchdog(watchdog);

        start_ticks += period_ms;
        osDelayUntil(start_ticks);
    }
    /* USER CODE END RunTask1Hz */
}

void HAL_TIM_PeriodElapsedCallback(TIM_HandleTypeDef *htim)
{
    if (htim->Instance == TIM6)
    {
        HAL_IncTick();
    }
}

void Error_Handler(void)
{
    /* USER CODE BEGIN Error_Handler_Debug */
    __assert_func(__FILE__, __LINE__, "Error_Handler", "Error_Handler");
    /* USER CODE END Error_Handler_Debug */
}

#ifdef USE_FULL_ASSERT
/**
 * @brief  Reports the name of the source file and the source line number
 *         where the assert_param error has occurred.
 * @param  file: pointer to the source file name
 * @param  line: assert_param error line source number
 * @retval None
 */
void assert_failed(uint8_t *file, uint32_t line)
{
    /* USER CODE BEGIN 6 */
    __assert_func(file, line, "assert_failed", "assert_failed");
    /* USER CODE END 6 */
}
#endif /* USE_FULL_ASSERT */
